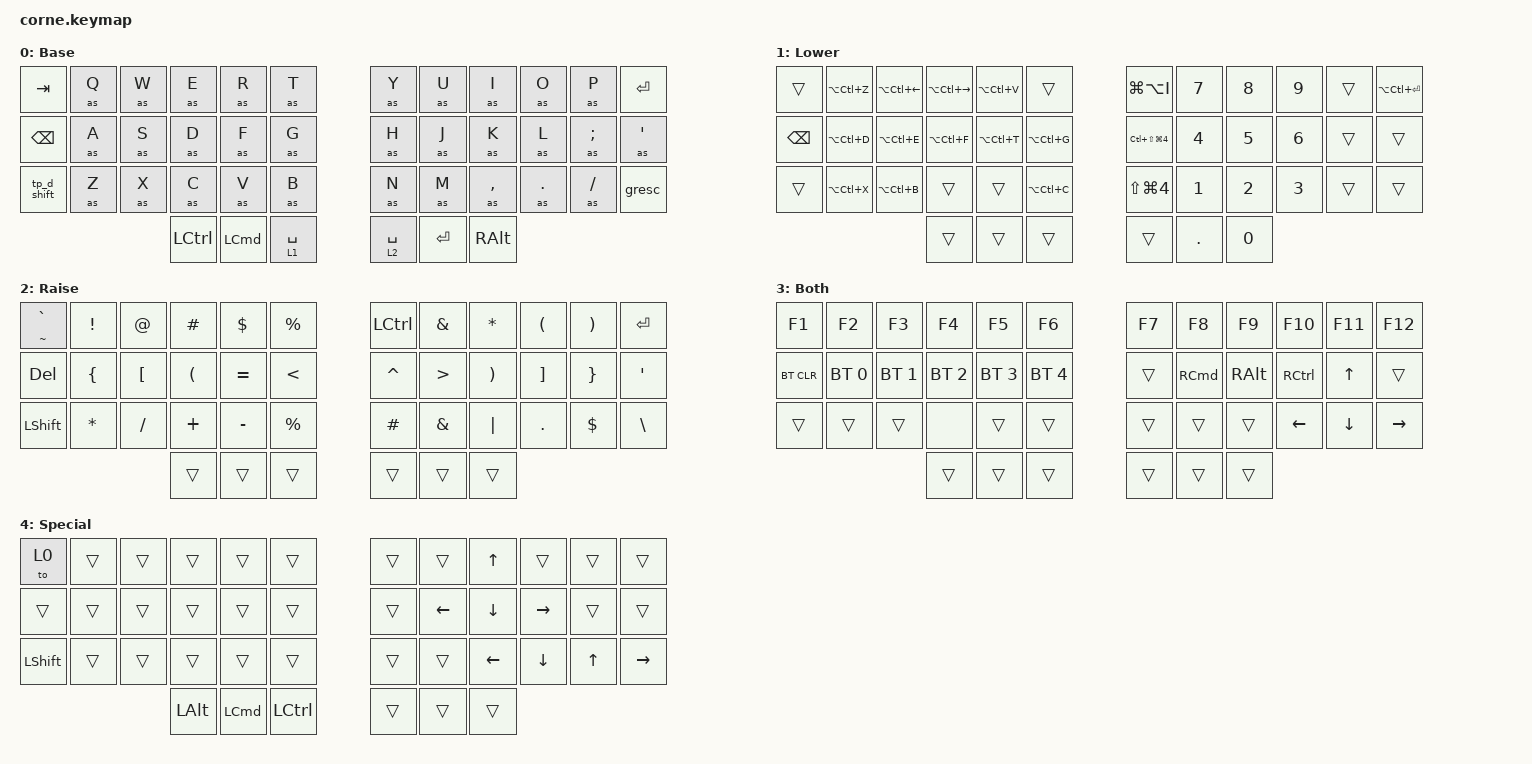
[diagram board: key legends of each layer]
/*
* Copyright (c) 2020 The ZMK Contributors
*
* SPDX-License-Identifier: MIT
*/

#include <behaviors.dtsi>
#include <dt-bindings/zmk/bt.h>
#include <dt-bindings/zmk/keys.h>

/ {
    macros {
        shift: with_lshift {
            compatible = "zmk,behavior-macro-one-param";
            #binding-cells = <1>;
            bindings =
                <&macro_press>,
                <&kp LSHFT>,
                <&macro_tap>,
                <&macro_param_1to1 &kp MACRO_PLACEHOLDER>,
                <&macro_release>,
                <&kp LSHFT>;

            label = "KEY_PRESS_WITH_LEFT_SHIFT_MODIFIER";
        };

        as: autoshift {
            compatible = "zmk,behavior-macro-one-param";
            #binding-cells = <1>;
            bindings =
                <&macro_press>,
                <&macro_param_1to1 &macro_param_1to2 &as_ht MACRO_PLACEHOLDER MACRO_PLACEHOLDER>,
                <&macro_pause_for_release>,
                <&macro_release>,
                <&macro_param_1to1 &macro_param_1to2 &as_ht MACRO_PLACEHOLDER MACRO_PLACEHOLDER>;

            label = "AUTOSHIFT_KEYPRESS";
        };
    };

    behaviors {
        as_ht: autoshift_hold_tap {
            compatible = "zmk,behavior-hold-tap";
            label = "AUTOSHIFT_HOLD_TAP";
            bindings = <&shift>, <&kp>;

            #binding-cells = <2>;
            tapping-term-ms = <190>;
            flavor = "tap-preferred";
            quick-tap-ms = <0>;
        };

        hml: homewrow_mods_left {
            compatible = "zmk,behavior-hold-tap";
            label = "HOMEROW_MODS_LEFT_HAND";
            bindings = <&kp>, <&kp>;

            #binding-cells = <2>;
            tapping-term-ms = <200>;
            hold-trigger-key-positions = <39 40 41 30 31 32 6 7 8 9 10 11 18 19 20 21 22 23 30 31 32 33 34 35 40 41>;
        };

        hmr: homewrow_mods_right {
            compatible = "zmk,behavior-hold-tap";
            label = "HOMEROW_MODS_RIGHT_HAND";
            bindings = <&kp>, <&kp>;

            #binding-cells = <2>;
            tapping-term-ms = <200>;
            hold-trigger-key-positions = <0 1 2 3 4 5 12 13 14 15 16 17 24 25 26 27 28 29 36 37 38>;
        };

        tp_d_q: tp_d_q {
            compatible = "zmk,behavior-tap-dance";
            label = "TP_D_Q";
            #binding-cells = <0>;
            bindings = <&as Q>, <&kp EXCLAMATION>;
        };

        tp_d_w: tp_d_w {
            compatible = "zmk,behavior-tap-dance";
            label = "TP_D_W";
            #binding-cells = <0>;
            bindings = <&as W>, <&kp AT_SIGN>;
        };

        tp_d_e: tp_d_e {
            compatible = "zmk,behavior-tap-dance";
            label = "TP_D_E";
            #binding-cells = <0>;
            bindings = <&as E>, <&kp POUND>;
        };

        tp_d_r: tp_d_r {
            compatible = "zmk,behavior-tap-dance";
            label = "TP_D_R";
            #binding-cells = <0>;
            bindings = <&as R>, <&kp DOLLAR>;
        };

        tp_d_t: tp_d_t {
            compatible = "zmk,behavior-tap-dance";
            label = "TP_D_T";
            #binding-cells = <0>;
            bindings = <&as T>, <&kp PERCENT>;
        };

        tp_d_y: tp_d_y {
            compatible = "zmk,behavior-tap-dance";
            label = "TP_D_Y";
            #binding-cells = <0>;
            bindings = <&as Y>, <&kp LCTRL>;
        };

        tp_d_u: tp_d_u {
            compatible = "zmk,behavior-tap-dance";
            label = "TP_D_U";
            #binding-cells = <0>;
            bindings = <&as U>, <&kp AMPERSAND>;
        };

        tp_d_i: tp_d_i {
            compatible = "zmk,behavior-tap-dance";
            label = "TP_D_I";
            #binding-cells = <0>;
            bindings = <&as I>, <&kp ASTERISK>;
        };

        tp_d_o: tp_d_o {
            compatible = "zmk,behavior-tap-dance";
            label = "TP_D_O";
            #binding-cells = <0>;
            bindings = <&as O>, <&kp LEFT_PARENTHESIS>;
        };

        tp_d_p: tp_d_p {
            compatible = "zmk,behavior-tap-dance";
            label = "TP_D_P";
            #binding-cells = <0>;
            bindings = <&as P>, <&kp RIGHT_PARENTHESIS>;
        };

        tp_d_tab: tp_d_tab {
            compatible = "zmk,behavior-tap-dance";
            label = "TP_D_TAB";
            #binding-cells = <0>;
            bindings = <&mt TILDE TAB>, <&kp GRAVE>;
        };

        tp_d_shift: tp_d_shift {
            compatible = "zmk,behavior-tap-dance";
            label = "TP_D_SHIFT";
            #binding-cells = <0>;
            bindings = <&mt LEFT_SHIFT LEFT_SHIFT>, <&kp CAPSLOCK>;
        };
    };

    combos {
        compatible = "zmk,combos";

        to_4 {
            bindings = <&to 4>;
            key-positions = <16 15>;
            layers = <0>;
        };

        momentary_4 {
            bindings = <&mo 4>;
            key-positions = <16 14>;
        };
    };

    keymap {
        compatible = "zmk,keymap";

        base {
            // -----------------------------------------------------------------------------------------
            // |  TAB |  Q  |  W  |  E  |  R  |  T  |   |  Y  |  U   |  I  |  O  |  P  | BKSP |
            // | CTRL |  A  |  S  |  D  |  F  |  G  |   |  H  |  J   |  K  |  L  |  ;  |  '   |
            // | SHFT |  Z  |  X  |  C  |  V  |  B  |   |  N  |  M   |  ,  |  .  |  /  | ESC  |
            //                    | GUI | LWR | SPC |   | ENT | RSE  | ALT |

            display-name = "Base";
            bindings = <
&kp TAB        &as Q  &as W  &as E      &as R             &as T          &as Y        &as U      &as I          &as O       &as P          &kp ENTER
&kp BACKSPACE  &as A  &as S  &as D      &as F             &as G          &as H        &as J      &as K          &as L       &as SEMICOLON  &as SQT
&tp_d_shift    &as Z  &as X  &as C      &as V             &as B          &as N        &as M      &as COMMA      &as PERIOD  &as SLASH      &gresc
                             &kp LCTRL  &kp LEFT_COMMAND  &lt 1 SPACE    &lt 2 SPACE  &kp ENTER  &kp RIGHT_ALT
            >;
        };

        lower {
            // -----------------------------------------------------------------------------------------
            // |  TAB |  1  |  2  |  3  |  4  |  5  |   |  6  |  7  |  8  |  9  |  0  | BKSP |
            // | BTCLR| BT1 | BT2 | BT3 | BT4 | BT5 |   | LFT | DWN |  UP | RGT |     |      |
            // | SHFT |     |     |     |     |     |   |     |     |     |     |     |      |
            //                    | GUI |     | SPC |   | ENT |     | ALT |

            display-name = "Lower";
            bindings = <
&trans         &kp LA(LC(Z))  &kp LA(LC(LEFT))  &kp LA(LC(RIGHT))  &kp LA(LC(V))  &trans           &kp LG(LA(I))             &kp N7        &kp N8        &kp N9        &trans  &kp LA(LC(ENTER))
&kp BACKSPACE  &kp LA(LC(D))  &kp LA(LC(E))     &kp LA(LC(F))      &kp LA(LC(T))  &kp LA(LC(G))    &kp LC(LS(LG(NUMBER_4)))  &kp NUMBER_4  &kp N5        &kp NUMBER_6  &trans  &trans
&trans         &kp LA(LC(X))  &kp LA(LC(B))     &trans             &trans         &kp LA(LC(C))    &kp LS(LG(NUMBER_4))      &kp NUMBER_1  &kp NUMBER_2  &kp NUMBER_3  &trans  &trans
                                                &trans             &trans         &trans           &trans                    &kp PERIOD    &kp NUMBER_0
            >;
        };

        raise {
            // -----------------------------------------------------------------------------------------
            // |  TAB |  !  |  @  |  #  |  $  |  %  |   |  ^  |  &  |  *  |  (  |  )  | BKSP |
            // | CTRL |     |     |     |     |     |   |  -  |  =  |  [  |  ]  |  \  |  `   |
            // | SHFT |     |     |     |     |     |   |  _  |  +  |  {  |  }  | "|" |  ~   |
            //                    | GUI |     | SPC |   | ENT |     | ALT |

            display-name = "Raise";
            bindings = <
&mt TILDE GRAVE  &kp EXCLAMATION  &kp AT_SIGN       &kp HASH              &kp DOLLAR  &kp PERCENT      &kp LCTRL  &kp AMPERSAND     &kp ASTERISK           &kp LEFT_PARENTHESIS  &kp RIGHT_PARENTHESIS  &kp ENTER
&kp DELETE       &kp LEFT_BRACE   &kp LEFT_BRACKET  &kp LEFT_PARENTHESIS  &kp EQUAL   &kp LESS_THAN    &kp CARET  &kp GREATER_THAN  &kp RIGHT_PARENTHESIS  &kp RBKT              &kp RIGHT_BRACE        &kp SINGLE_QUOTE
&kp LSHFT        &kp ASTERISK     &kp SLASH         &kp PLUS              &kp MINUS   &kp PERCENT      &kp HASH   &kp AMPERSAND     &kp PIPE               &kp PERIOD            &kp DOLLAR             &kp BACKSLASH
                                                    &trans                &trans      &trans           &trans     &trans            &trans
            >;
        };

        both {
            // -----------------------------------------------------------------------------------------
            // |  TAB |  !  |  @  |  #  |  $  |  %  |   |  ^  |  &  |  *  |  (  |  )  | BKSP |
            // | CTRL |     |     |     |     |     |   |  -  |  =  |  [  |  ]  |  \  |  `   |
            // | SHFT |     |     |     |     |     |   |  _  |  +  |  {  |  }  | "|" |  ~   |
            //                    | GUI |     | SPC |   | ENT |     | ALT |

            display-name = "Both";
            bindings = <
&kp F1      &kp F2        &kp F3        &kp F4        &kp F5        &kp F6          &kp F7  &kp F8             &kp F9         &kp F10            &kp F11       &kp F12
&bt BT_CLR  &bt BT_SEL 0  &bt BT_SEL 1  &bt BT_SEL 2  &bt BT_SEL 3  &bt BT_SEL 4    &trans  &kp RIGHT_COMMAND  &kp RIGHT_ALT  &kp RIGHT_CONTROL  &kp UP_ARROW  &trans
&trans      &trans        &trans        &none         &trans        &trans          &trans  &trans             &trans         &kp LEFT           &kp DOWN      &kp RIGHT
                                        &trans        &trans        &trans          &trans  &trans             &trans
            >;
        };

        special {
            bindings = <
&to 0           &trans  &trans  &trans        &trans            &trans       &trans  &trans    &kp UP_ARROW    &trans     &trans        &trans
&trans          &trans  &trans  &trans        &trans            &trans       &trans  &kp LEFT  &kp DOWN        &kp RIGHT  &trans        &trans
&kp LEFT_SHIFT  &trans  &trans  &trans        &trans            &trans       &trans  &trans    &kp LEFT_ARROW  &kp DOWN   &kp UP_ARROW  &kp RIGHT
                                &kp LEFT_ALT  &kp LEFT_COMMAND  &kp LCTRL    &trans  &trans    &trans
            >;

            label = "Special";
        };
    };

    conditional_layers {
        compatible = "zmk,conditional-layers";

        tri_layer {
            if-layers = <1 2>;
            then-layer = <3>;
        };
    };
};
